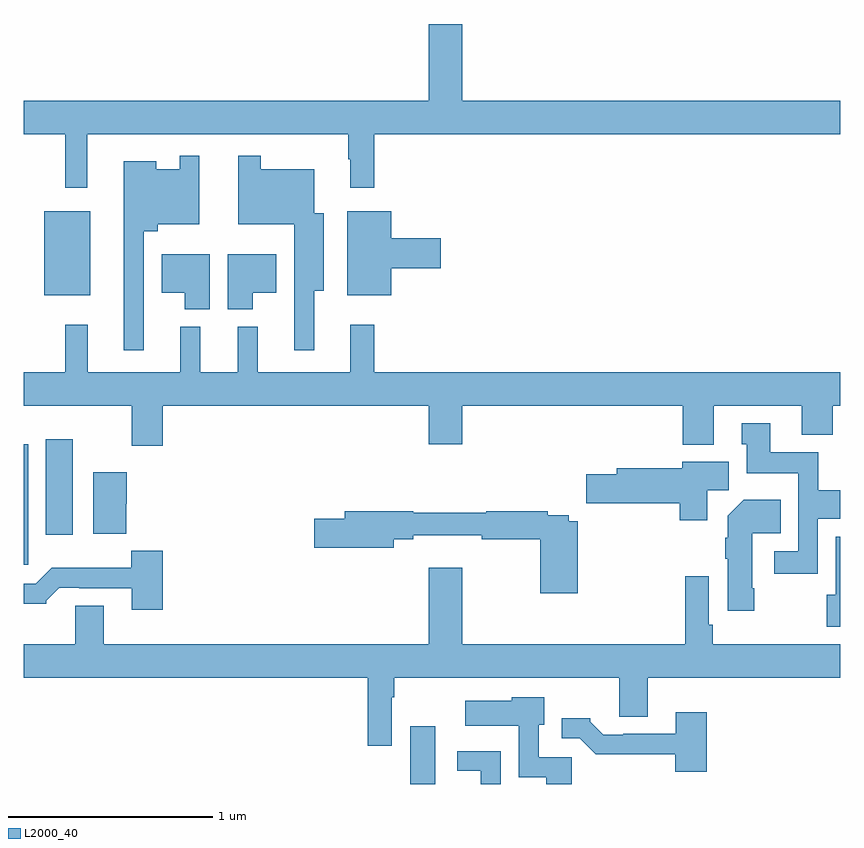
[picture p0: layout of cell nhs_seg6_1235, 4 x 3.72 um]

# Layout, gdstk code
import gdstk
lib = gdstk.Library(unit=1e-6, precision=1e-09)
def R(c, l, rs):  # rectangles x0, y0, x1, y1
    for r in rs: c.add(gdstk.rectangle(r[:2], r[2:], *l))
def P(c, l, *ps):  # polygons
    for p in ps: c.add(gdstk.Polygon(p, *l))
L2000_40 = (2000, 40)

nhs_seg6_1235 = lib.new_cell('nhs_seg6_1235')
R(nhs_seg6_1235, L2000_40, [(188.894,929.5,189.016,929.782), (187,930.573,187.021,931.165), (187.109,930.72,187.24,931.189), (187.1,931.895,187.327,932.305)])
P(nhs_seg6_1235, L2000_40, [(187.312,932.684),(188.589,932.684),(188.589,932.561),(188.6,932.561),(188.6,932.421),(188.717,932.421),(188.717,932.684),(191,932.684),(191,932.848),(189.148,932.848),(189.148,933.223),(188.984,933.223),(188.984,932.848),(187,932.848),(187,932.684),(187.203,932.684),(187.203,932.421),(187.312,932.421)],
  [(188.423,931.916),(188.47,931.916),(188.47,932.296),(188.422,932.296),(188.422,932.512),(188.161,932.512),(188.161,932.578),(188.052,932.578),(188.052,932.243),(188.325,932.243),(188.325,931.626),(188.423,931.626)],
  [(187.587,932.207),(187.656,932.207),(187.656,932.243),(187.86,932.243),(187.86,932.578),(187.764,932.578),(187.764,932.512),(187.648,932.512),(187.648,932.551),(187.49,932.551),(187.49,931.626),(187.587,931.626)],
  [(188.8,932.027),(189.043,932.027),(189.043,932.174),(188.8,932.174),(188.8,932.305),(188.585,932.305),(188.585,931.895),(188.8,931.895)],
  [(188.122,931.907),(188.236,931.907),(188.236,932.095),(188,932.095),(188,931.826),(188.122,931.826)],
  [(187.912,932.095),(187.676,932.095),(187.676,931.907),(187.79,931.907),(187.79,931.826),(187.912,931.826)],
  [(187.682,931.352),(188.984,931.352),(188.984,931.164),(189.148,931.164),(189.148,931.352),(190.229,931.352),(190.229,931.163),(190.381,931.163),(190.381,931.352),(190.811,931.352),(190.811,931.211),(190.964,931.211),(190.964,931.352),(191,931.352),(191,931.516),(188.717,931.516),(188.717,931.75),(188.6,931.75),(188.6,931.516),(188.147,931.516),(188.147,931.741),(188.048,931.741),(188.048,931.516),(187.865,931.516),(187.865,931.741),(187.766,931.741),(187.766,931.516),(187.313,931.516),(187.313,931.75),(187.203,931.75),(187.203,931.516),(187,931.516),(187,931.352),(187.529,931.352),(187.529,931.158),(187.682,931.158)],
  [(190.89,930.8),(191,930.8),(191,930.94),(190.893,930.94),(190.893,931.126),(190.657,931.126),(190.657,931.267),(190.517,931.267),(190.517,931.164),(190.541,931.164),(190.541,931.022),(190.794,931.022),(190.794,930.639),(190.677,930.639),(190.677,930.531),(190.89,930.531)],
  [(190.348,930.94),(190.453,930.94),(190.453,931.078),(190.226,931.078),(190.226,931.047),(189.905,931.047),(189.905,931.017),(189.756,931.017),(189.756,930.875),(190.214,930.875),(190.214,930.792),(190.348,930.792)],
  [(187.502,930.873),(187.504,930.873),(187.504,931.027),(187.34,931.027),(187.34,930.725),(187.502,930.725)],
  [(190.578,930.46),(190.57,930.46),(190.57,930.728),(190.709,930.728),(190.709,930.892),(190.526,930.892),(190.448,930.814),(190.448,930.707),(190.436,930.707),(190.436,930.604),(190.448,930.604),(190.448,930.348),(190.578,930.348)],
  [(189.713,930.787),(189.67,930.787),(189.67,930.816),(189.566,930.816),(189.566,930.836),(189.266,930.836),(189.266,930.829),(188.908,930.829),(188.908,930.836),(188.573,930.836),(188.573,930.8),(188.424,930.8),(188.424,930.658),(188.812,930.658),(188.812,930.7),(188.908,930.7),(188.908,930.719),(189.244,930.719),(189.244,930.7),(189.53,930.7),(189.53,930.435),(189.713,930.435)],
  [(191,930.712),(190.979,930.712),(190.979,930.426),(190.933,930.426),(190.933,930.27),(191,930.27)],
  [(187.682,930.643),(187.527,930.643),(187.527,930.559),(187.138,930.559),(187.059,930.48),(187,930.48),(187,930.383),(187.11,930.383),(187.11,930.398),(187.174,930.462),(187.273,930.462),(187.273,930.459),(187.529,930.459),(187.529,930.354),(187.682,930.354)],
  [(188.802,929.924),(188.815,929.924),(188.815,930.02),(189.917,930.02),(189.917,929.83),(190.057,929.83),(190.057,930.02),(191,930.02),(191,930.184),(190.376,930.184),(190.376,930.28),(190.356,930.28),(190.356,930.517),(190.24,930.517),(190.24,930.184),(189.148,930.184),(189.148,930.559),(188.984,930.559),(188.984,930.184),(187.393,930.184),(187.393,930.374),(187.253,930.374),(187.253,930.184),(187,930.184),(187,930.02),(188.686,930.02),(188.686,929.688),(188.802,929.688)],
  [(189.685,929.631),(189.522,929.631),(189.522,929.79),(189.55,929.79),(189.55,929.926),(189.39,929.926),(189.39,929.908),(189.162,929.908),(189.162,929.786),(189.426,929.786),(189.426,929.534),(189.56,929.534),(189.56,929.5),(189.685,929.5)],
  [(190.346,929.851),(190.193,929.851),(190.193,929.745),(189.937,929.745),(189.937,929.742),(189.838,929.742),(189.774,929.806),(189.774,929.821),(189.635,929.821),(189.635,929.724),(189.723,929.724),(189.802,929.646),(190.191,929.646),(190.191,929.561),(190.346,929.561)],
  [(189.336,929.661),(189.123,929.661),(189.123,929.565),(189.24,929.565),(189.24,929.5),(189.336,929.5)])

lib.write_gds('nhs_seg6_1235.gds')
